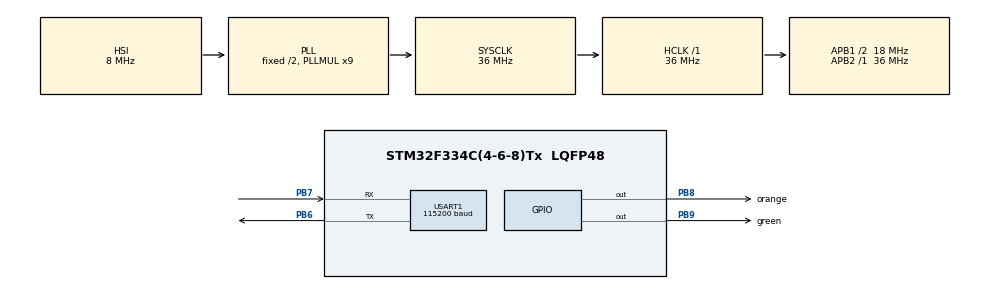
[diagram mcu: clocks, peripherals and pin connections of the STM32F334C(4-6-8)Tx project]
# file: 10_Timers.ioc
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FREERTOS.Tasks01=defaultTask,0,128,StartDefaultTask,Default,NULL,Dynamic,NULL,NULL
FREERTOS.configUSE_TIMERS=1
Mcu.Family=STM32F3
Mcu.Name=STM32F334C(4-6-8)Tx
Mcu.Package=LQFP48
NVIC.PriorityGroup=NVIC_PRIORITYGROUP_4
NVIC.TIM6_DAC1_IRQn=true\:15\:0\:false\:false\:true\:false\:false\:true\:true
NVIC.TimeBase=TIM6_DAC1_IRQn
NVIC.TimeBaseIP=TIM6
PB6.Mode=Asynchronous
PB6.Signal=USART1_TX
PB7.Mode=Asynchronous
PB7.Signal=USART1_RX
PB8.GPIO_Label=orange
PB8.Signal=GPIO_Output
PB9.GPIO_Label=green
PB9.Signal=GPIO_Output
ProjectManager.HeapSize=0x200
ProjectManager.StackSize=0x400
ProjectManager.TargetToolchain=STM32CubeIDE
RCC.AHBFreq_Value=36000000
RCC.APB1CLKDivider=RCC_HCLK_DIV2
RCC.APB1Freq_Value=18000000
RCC.APB1TimFreq_Value=36000000
RCC.APB2Freq_Value=36000000
RCC.APB2TimFreq_Value=36000000
RCC.CortexFreq_Value=36000000
RCC.HCLKFreq_Value=36000000
RCC.HSE_VALUE=8000000
RCC.HSI_VALUE=8000000
RCC.LSE_VALUE=32768
RCC.PLLMUL=RCC_PLL_MUL9
RCC.SYSCLKFreq_VALUE=36000000
RCC.SYSCLKSourceVirtual=RCC_SYSCLKSOURCE_PLLCLK
USART1.BaudRate=115200
USART1.VirtualMode-Asynchronous=VM_ASYNC
VP_FREERTOS_VS_CMSIS_V1.Mode=CMSIS_V1
VP_SYS_VS_tim6.Mode=TIM6
board=STM32F3348-DISCO

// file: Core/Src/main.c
/* USER CODE BEGIN Header */
/**
  ******************************************************************************
  * @file           : main.c
  * @brief          : Main program body
  ******************************************************************************
  * @attention
  *
  * Copyright (c) 2023 STMicroelectronics.
  * All rights reserved.
  *
  * This software is licensed under terms that can be found in the LICENSE file
  * in the root directory of this software component.
  * If no LICENSE file comes with this software, it is provided AS-IS.
  *
  ******************************************************************************
  */
/* USER CODE END Header */
#include "main.h"
//#include "cmsis_os.h"

/* USER CODE BEGIN Includes */
#include "FreeRTOS.h"
#include "task.h"
#include "timers.h"
#include "queue.h"
#include "semphr.h"
#include "event_groups.h"
#include <string.h>
#include <stdlib.h>
#include <stdio.h>

/* USER CODE END Includes */

UART_HandleTypeDef huart1;

//osThreadId defaultTaskHandle;
/* USER CODE BEGIN PV */
TimerHandle_t Timer_Non_Periodic_Handle;
TimerHandle_t Timer_Periodic_Handle;
/* USER CODE END PV */

void SystemClock_Config(void);
static void MX_GPIO_Init(void);
static void MX_USART1_UART_Init(void);
void StartDefaultTask(void const * argument);

/* USER CODE BEGIN PFP */
void Periodic_Callback(TimerHandle_t xTimer);
void Non_Periodic_Callback(TimerHandle_t xTimer);
/* USER CODE END PFP */

int main(void)
{

  /* MCU Configuration--------------------------------------------------------*/

  /* Reset of all peripherals, Initializes the Flash interface and the Systick. */
  HAL_Init();

  /* Configure the system clock */
  SystemClock_Config();

  /* Initialize all configured peripherals */
  MX_GPIO_Init();
  MX_USART1_UART_Init();

  /* Create the thread(s) */
  /* definition and creation of defaultTask */
//  osThreadDef(defaultTask, StartDefaultTask, osPriorityNormal, 0, 128);
//  defaultTaskHandle = osThreadCreate(osThread(defaultTask), NULL);

  /* USER CODE BEGIN RTOS_THREADS */
  Timer_Periodic_Handle= xTimerCreate("PeriodicTimer", 1000, pdTRUE, NULL, Periodic_Callback);
  Timer_Non_Periodic_Handle = xTimerCreate("NonPeriodicTimer", 4000, pdFALSE, NULL, Non_Periodic_Callback);
  xTimerStart(Timer_Non_Periodic_Handle,4000);
  xTimerStart(Timer_Periodic_Handle,500);
  vTaskStartScheduler();
  /* USER CODE END RTOS_THREADS */

  /* Start scheduler */
//  osKernelStart();

  /* We should never get here as control is now taken by the scheduler */
  /* Infinite loop */
  while (1)
  {

  }
}

void SystemClock_Config(void)
{
  RCC_OscInitTypeDef RCC_OscInitStruct = {0};
  RCC_ClkInitTypeDef RCC_ClkInitStruct = {0};
  RCC_PeriphCLKInitTypeDef PeriphClkInit = {0};

  /** Initializes the RCC Oscillators according to the specified parameters
  * in the RCC_OscInitTypeDef structure.
  */
  RCC_OscInitStruct.OscillatorType = RCC_OSCILLATORTYPE_HSI;
  RCC_OscInitStruct.HSIState = RCC_HSI_ON;
  RCC_OscInitStruct.HSICalibrationValue = RCC_HSICALIBRATION_DEFAULT;
  RCC_OscInitStruct.PLL.PLLState = RCC_PLL_ON;
  RCC_OscInitStruct.PLL.PLLSource = RCC_PLLSOURCE_HSI;
  RCC_OscInitStruct.PLL.PLLMUL = RCC_PLL_MUL9;
  if (HAL_RCC_OscConfig(&RCC_OscInitStruct) != HAL_OK)
  {
    Error_Handler();
  }

  /** Initializes the CPU, AHB and APB buses clocks
  */
  RCC_ClkInitStruct.ClockType = RCC_CLOCKTYPE_HCLK|RCC_CLOCKTYPE_SYSCLK
                              |RCC_CLOCKTYPE_PCLK1|RCC_CLOCKTYPE_PCLK2;
  RCC_ClkInitStruct.SYSCLKSource = RCC_SYSCLKSOURCE_PLLCLK;
  RCC_ClkInitStruct.AHBCLKDivider = RCC_SYSCLK_DIV1;
  RCC_ClkInitStruct.APB1CLKDivider = RCC_HCLK_DIV2;
  RCC_ClkInitStruct.APB2CLKDivider = RCC_HCLK_DIV1;

  if (HAL_RCC_ClockConfig(&RCC_ClkInitStruct, FLASH_LATENCY_1) != HAL_OK)
  {
    Error_Handler();
  }
  PeriphClkInit.PeriphClockSelection = RCC_PERIPHCLK_USART1;
  PeriphClkInit.Usart1ClockSelection = RCC_USART1CLKSOURCE_PCLK1;
  if (HAL_RCCEx_PeriphCLKConfig(&PeriphClkInit) != HAL_OK)
  {
    Error_Handler();
  }
}

static void MX_USART1_UART_Init(void)
{

  huart1.Instance = USART1;
  huart1.Init.BaudRate = 115200;
  huart1.Init.WordLength = UART_WORDLENGTH_8B;
  huart1.Init.StopBits = UART_STOPBITS_1;
  huart1.Init.Parity = UART_PARITY_NONE;
  huart1.Init.Mode = UART_MODE_TX_RX;
  huart1.Init.HwFlowCtl = UART_HWCONTROL_NONE;
  huart1.Init.OverSampling = UART_OVERSAMPLING_16;
  huart1.Init.OneBitSampling = UART_ONE_BIT_SAMPLE_DISABLE;
  huart1.AdvancedInit.AdvFeatureInit = UART_ADVFEATURE_NO_INIT;
  if (HAL_UART_Init(&huart1) != HAL_OK)
  {
    Error_Handler();
  }

}

static void MX_GPIO_Init(void)
{
  GPIO_InitTypeDef GPIO_InitStruct = {0};

  /* GPIO Ports Clock Enable */
  __HAL_RCC_GPIOB_CLK_ENABLE();

  /*Configure GPIO pin Output Level */
  HAL_GPIO_WritePin(GPIOB, orange_Pin|green_Pin, GPIO_PIN_RESET);

  /*Configure GPIO pins : orange_Pin green_Pin */
  GPIO_InitStruct.Pin = orange_Pin|green_Pin;
  GPIO_InitStruct.Mode = GPIO_MODE_OUTPUT_PP;
  GPIO_InitStruct.Pull = GPIO_NOPULL;
  GPIO_InitStruct.Speed = GPIO_SPEED_FREQ_LOW;
  HAL_GPIO_Init(GPIOB, &GPIO_InitStruct);

}

/* USER CODE BEGIN 4 */
void Non_Periodic_Callback(TimerHandle_t handle)
{
	HAL_GPIO_TogglePin(orange_GPIO_Port,orange_Pin);
	HAL_UART_Transmit(&huart1, (uint8_t*)"This line will be printed every 4 seconds\r\n", sizeof("This line will be printed every 4 seconds\r\n")-1, HAL_MAX_DELAY);
	xTimerStart(Timer_Non_Periodic_Handle,4000);
}
void Periodic_Callback(TimerHandle_t handle)
{
	HAL_GPIO_TogglePin(green_GPIO_Port, green_Pin);
	HAL_UART_Transmit(&huart1, (uint8_t*)"This line will be printed every 1 seconds\r\n", sizeof("This line will be printed every 1 seconds\r\n")-1, HAL_MAX_DELAY);
}
/* USER CODE END 4 */

void HAL_TIM_PeriodElapsedCallback(TIM_HandleTypeDef *htim)
{
  if (htim->Instance == TIM6) {
    HAL_IncTick();
  }
}

void Error_Handler(void)
{
  __disable_irq();
  while (1)
  {
  }
}
